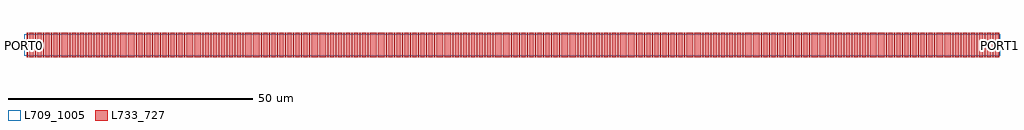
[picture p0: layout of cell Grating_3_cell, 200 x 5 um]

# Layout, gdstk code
import gdstk
lib = gdstk.Library(unit=1e-6, precision=1e-09)
def R(c, l, rs):  # rectangles x0, y0, x1, y1
    for r in rs: c.add(gdstk.rectangle(r[:2], r[2:], *l))
def A(c, l, x, y, w, h, nx, ny, dx, dy):  # array of equal rectangles
    R(c, l, [(x+i*dx, y+j*dy, x+i*dx+w, y+j*dy+h) for i in range(nx) for j in range(ny)])
L709_1005 = (709, 1005)
L733_727 = (733, 727)

grating_3_cell = lib.new_cell('Grating_3_cell')
R(grating_3_cell, L709_1005, [(0,-2.25,200,2.25)])
A(grating_3_cell, L733_727, 0.53, -2.5, 0.381, 5, 38, 1, 0.545, 0)
A(grating_3_cell, L733_727, 21.24, -2.5, 0.382, 5, 219, 1, 0.545, 0)
A(grating_3_cell, L733_727, 141.685, -2.5, 0.381, 5, 107, 1, 0.545, 0)
R(grating_3_cell, L733_727, [(140.595,-2.5,140.976,2.5), (141.14,-2.5,141.522,2.5)])
grating_3_cell.add(gdstk.Label('PORT0', (0,0), layer=1001, texttype=3))
grating_3_cell.add(gdstk.Label('PORT1', (200,0), layer=1001, texttype=3))
grating_3_cell.add(gdstk.Label('sub!', (0,0), layer=1002, texttype=6))

lib.write_gds('Grating_3_cell.gds')
